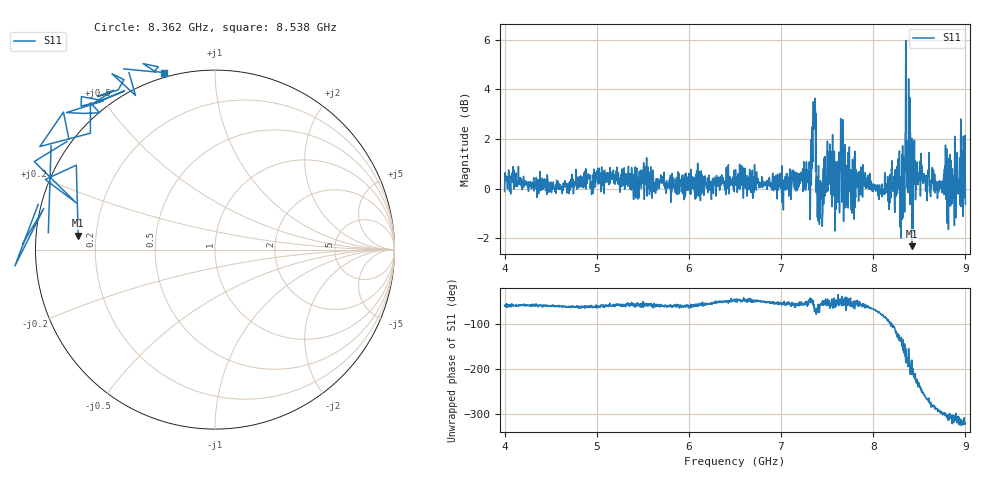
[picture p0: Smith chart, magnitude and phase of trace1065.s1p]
! Created with skrf 1.8.0 (http://scikit-rf.org).
# Hz S RI R 50.0
!freq ReS11 ImS11
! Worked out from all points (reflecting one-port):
!   1601 points, 4 GHz to 9 GHz, reference 50 ohm
!   lowest |S11| = -2.3 dB at 8.422 GHz (marker M1), VSWR 7.55, Z = 6.64 + j2.48 ohm
!   phase of S11 starts at -58 deg and turns -264 deg over the sweep
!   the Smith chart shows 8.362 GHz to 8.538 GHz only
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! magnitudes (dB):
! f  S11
! 4 GHz  -0.1
! 4.625 GHz  -0.2
! 5.25 GHz  -0.1
! 5.875 GHz  0.3
! 6.5 GHz  0.4
! 7.125 GHz  0.6
! 7.294 GHz  0.5
! 7.319 GHz  -0.1
! 7.353 GHz  2.4
! 7.372 GHz  3.2
! 7.406 GHz  0.9
! 7.438 GHz  0.0
! 7.512 GHz  1.3
! 7.609 GHz  1.1
! 7.65 GHz  1.2
! 7.703 GHz  0.1
! 7.75 GHz  -0.1
! 7.784 GHz  -0.4
! 7.891 GHz  0.2
! 8.159 GHz  0.0
! 8.262 GHz  -0.2
! 8.316 GHz  -1.2
! 8.331 GHz  0.5
! 8.375 GHz  -0.2
! 8.422 GHz  -2.3
! 8.856 GHz  -0.5
! 8.972 GHz  1.0
! 9 GHz  -0.6
